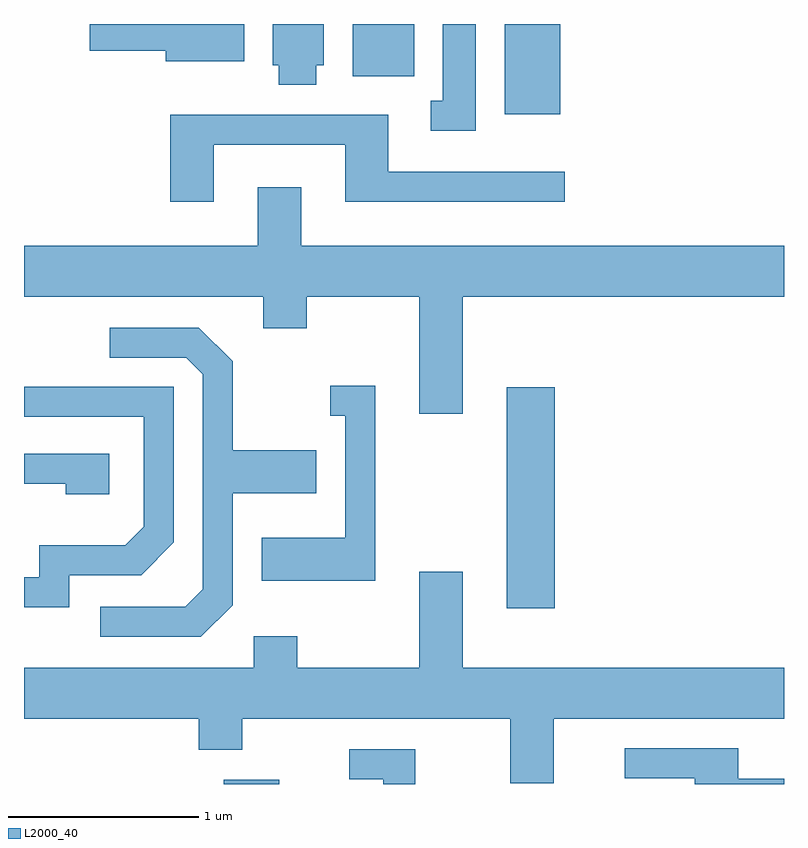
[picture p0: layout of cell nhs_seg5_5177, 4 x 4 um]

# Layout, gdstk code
import gdstk
lib = gdstk.Library(unit=1e-6, precision=1e-09)
def R(c, l, rs):  # rectangles x0, y0, x1, y1
    for r in rs: c.add(gdstk.rectangle(r[:2], r[2:], *l))
def P(c, l, *ps):  # polygons
    for p in ps: c.add(gdstk.Polygon(p, *l))
L2000_40 = (2000, 40)

nhs_seg5_5177 = lib.new_cell('nhs_seg5_5177')
R(nhs_seg5_5177, L2000_40, [(340.661,1392.072,340.954,1392.094), (342.151,1392.996,342.404,1394.159), (342.141,1395.596,342.434,1396.072), (341.341,1395.796,341.664,1396.072)])
P(nhs_seg5_5177, L2000_40, [(340.769,1396.072),(339.956,1396.072),(339.956,1395.931),(340.356,1395.931),(340.356,1395.876),(340.769,1395.876)],
  [(341.989,1396.072),(341.816,1396.072),(341.816,1395.669),(341.753,1395.669),(341.753,1395.511),(341.989,1395.511)],
  [(341.149,1395.856),(341.189,1395.856),(341.189,1396.072),(340.921,1396.072),(340.921,1395.856),(340.951,1395.856),(340.951,1395.751),(341.149,1395.751)],
  [(340.609,1395.436),(341.301,1395.436),(341.301,1395.136),(342.458,1395.136),(342.458,1395.294),(341.529,1395.294),(341.529,1395.594),(340.381,1395.594),(340.381,1395.136),(340.609,1395.136)],
  [(341.919,1394.636),(343.611,1394.636),(343.611,1394.904),(341.069,1394.904),(341.069,1395.214),(340.841,1395.214),(340.841,1394.904),(339.611,1394.904),(339.611,1394.636),(340.871,1394.636),(340.871,1394.471),(341.099,1394.471),(341.099,1394.636),(341.691,1394.636),(341.691,1394.021),(341.919,1394.021)],
  [(340.709,1393.014),(340.709,1393.601),(341.149,1393.601),(341.149,1393.829),(340.709,1393.829),(340.709,1394.297),(340.532,1394.474),(340.063,1394.474),(340.063,1394.316),(340.464,1394.316),(340.551,1394.229),(340.551,1393.097),(340.459,1393.004),(340.013,1393.004),(340.013,1392.846),(340.542,1392.846)],
  [(341.459,1394.169),(341.223,1394.169),(341.223,1394.011),(341.301,1394.011),(341.301,1393.369),(340.861,1393.369),(340.861,1393.141),(341.459,1393.141)],
  [(339.849,1393.171),(340.227,1393.171),(340.399,1393.344),(340.399,1394.164),(339.611,1394.164),(339.611,1394.006),(340.241,1394.006),(340.241,1393.427),(340.144,1393.329),(339.691,1393.329),(339.691,1393.159),(339.611,1393.159),(339.611,1393.001),(339.849,1393.001)],
  [(340.059,1393.809),(339.611,1393.809),(339.611,1393.651),(339.831,1393.651),(339.831,1393.596),(340.059,1393.596)],
  [(342.399,1392.416),(343.611,1392.416),(343.611,1392.684),(341.919,1392.684),(341.919,1393.189),(341.691,1393.189),(341.691,1392.684),(341.049,1392.684),(341.049,1392.849),(340.821,1392.849),(340.821,1392.684),(339.611,1392.684),(339.611,1392.416),(340.531,1392.416),(340.531,1392.251),(340.759,1392.251),(340.759,1392.416),(342.171,1392.416),(342.171,1392.076),(342.399,1392.076)],
  [(343.611,1392.099),(343.369,1392.099),(343.369,1392.259),(342.773,1392.259),(342.773,1392.101),(343.141,1392.101),(343.141,1392.072),(343.611,1392.072)],
  [(341.669,1392.254),(341.323,1392.254),(341.323,1392.096),(341.501,1392.096),(341.501,1392.072),(341.669,1392.072)])

lib.write_gds('nhs_seg5_5177.gds')
